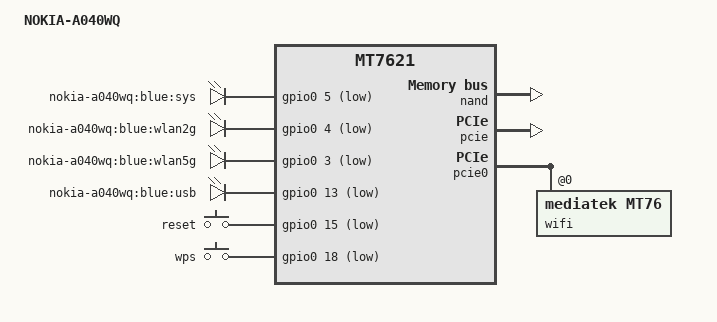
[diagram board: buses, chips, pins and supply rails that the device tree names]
/dts-v1/;

#include "mt7621.dtsi"

#include <dt-bindings/gpio/gpio.h>
#include <dt-bindings/input/input.h>

/ {
	compatible = "nokia-a040wq", "mediatek,mt7621-soc";
	model = "NOKIA-A040WQ";

	aliases {
		led-boot = &led_sys;
		led-failsafe = &led_sys;
		led-running = &led_sys;
		led-upgrade = &led_sys;
	};

	chosen {
		bootargs = "console=ttyS0,115200n8";
	};

	leds {
		compatible = "gpio-leds";

		led_sys: sys {
			label = "nokia-a040wq:blue:sys";
			gpios = <&gpio0 5 GPIO_ACTIVE_LOW>;
		};

		wlan2g {
			label = "nokia-a040wq:blue:wlan2g";
			gpios = <&gpio0 4 GPIO_ACTIVE_LOW>;
		};

		wlan5g {
			label = "nokia-a040wq:blue:wlan5g";
			gpios = <&gpio0 3 GPIO_ACTIVE_LOW>;
		};

		usb {
			label = "nokia-a040wq:blue:usb";
			gpios = <&gpio0 13 GPIO_ACTIVE_LOW>;
			trigger-sources = <&xhci_ehci_port1>, <&ehci_port2>;
			linux,default-trigger = "usbport";
		};
	};

	keys {
		compatible = "gpio-keys";

		reset {
			label = "reset";
			gpios = <&gpio0 15 GPIO_ACTIVE_LOW>;
			linux,code = <KEY_RESTART>;
		};

		wps {
			label = "wps";
			gpios = <&gpio0 18 GPIO_ACTIVE_LOW>;
			linux,code = <KEY_WPS_BUTTON>;
		};
	};
};


&nand {
	status = "okay";

	partitions {
		compatible = "fixed-partitions";
		#address-cells = <1>;
		#size-cells = <1>;

		partition@0 {
			label = "u-boot";
			reg = <0x0 0x80000>;
		};

		partition@80000 {
			label = "u-boot-env";
			reg = <0x80000 0x40000>;
		};


		factory: partition@100000 {
			label = "factory";
			reg = <0x100000 0x40000>;
			read-only;
		};

		partition@140000 {
			label = "kernel";
			reg = <0x140000 0x400000>;
		};

		partition@540000 {
			label = "ubi";
			reg = <0x540000 0x7580000>;
		};
	};
};

&pcie {
	status = "okay";
};

&pcie0 {
	wifi@0,0 {
		compatible = "mediatek,mt76";
		reg = <0x0000 0 0 0 0>;
		mediatek,mtd-eeprom = <&factory 0x0>;

		led {
			led-sources = <3>;
			led-active-low;
		};
	};
};



&ethernet {
	mtd-mac-address = <&factory 0x4>;
};

&pinctrl {
	state_default: pinctrl0 {
		gpio {
			ralink,group = "i2c", "jtag", "uart2", "uart3", "wdt";
			ralink,function = "gpio";
		};
	};
};
